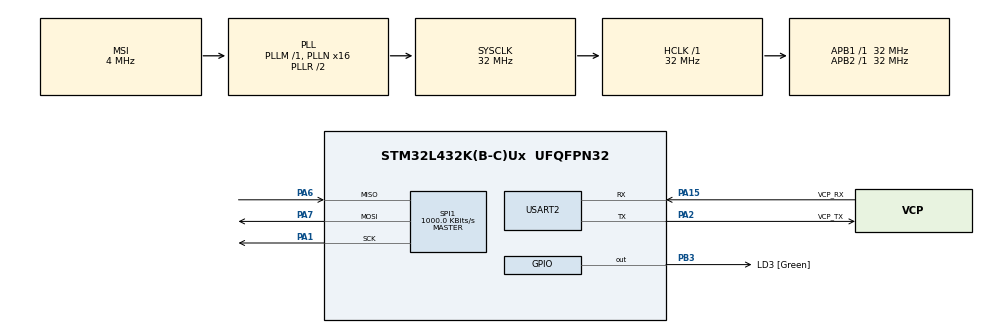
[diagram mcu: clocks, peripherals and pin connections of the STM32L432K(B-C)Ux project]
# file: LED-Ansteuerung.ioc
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Mcu.Family=STM32L4
Mcu.Name=STM32L432K(B-C)Ux
Mcu.Package=UFQFPN32
NVIC.PriorityGroup=NVIC_PRIORITYGROUP_4
NVIC.TIM2_IRQn=true\:0\:0\:false\:false\:true\:true\:true\:true
NVIC.USART2_IRQn=true\:0\:0\:false\:false\:true\:true\:true\:true
PA0.GPIO_Label=MCO [High speed clock in]
PA0.Mode=HSE-External-Clock-Source-for-LittleOrca
PA0.Signal=RCC_CK_IN
PA1.Mode=Full_Duplex_Master
PA1.Signal=SPI1_SCK
PA13\ (JTMS-SWDIO).GPIO_Label=SWDIO
PA13\ (JTMS-SWDIO).Mode=Serial_Wire
PA13\ (JTMS-SWDIO).Signal=SYS_JTMS-SWDIO
PA14\ (JTCK-SWCLK).GPIO_Label=SWCLK
PA14\ (JTCK-SWCLK).Mode=Serial_Wire
PA14\ (JTCK-SWCLK).Signal=SYS_JTCK-SWCLK
PA15\ (JTDI).GPIO_Label=VCP_RX
PA15\ (JTDI).Mode=Asynchronous
PA15\ (JTDI).Signal=USART2_RX
PA2.GPIO_Label=VCP_TX
PA2.Mode=Asynchronous
PA2.Signal=USART2_TX
PA6.Mode=Full_Duplex_Master
PA6.Signal=SPI1_MISO
PA7.Mode=Full_Duplex_Master
PA7.Signal=SPI1_MOSI
PB3\ (JTDO-TRACESWO).GPIO_Label=LD3 [Green]
PB3\ (JTDO-TRACESWO).Signal=GPIO_Output
PC14-OSC32_IN\ (PC14).Mode=LSE-External-Oscillator
PC14-OSC32_IN\ (PC14).Signal=RCC_OSC32_IN
PC15-OSC32_OUT\ (PC15).Mode=LSE-External-Oscillator
PC15-OSC32_OUT\ (PC15).Signal=RCC_OSC32_OUT
ProjectManager.HeapSize=0x200
ProjectManager.StackSize=0x400
ProjectManager.TargetToolchain=STM32CubeIDE
RCC.AHBFreq_Value=32000000
RCC.APB1Freq_Value=32000000
RCC.APB1TimFreq_Value=32000000
RCC.APB2Freq_Value=32000000
RCC.APB2TimFreq_Value=32000000
RCC.CortexFreq_Value=32000000
RCC.HCLKFreq_Value=32000000
RCC.HSE_VALUE=8000000
RCC.HSI16_VALUE=16000000
RCC.HSI48_VALUE=48000000
RCC.HSI_VALUE=16000000
RCC.MSI_VALUE=4000000
RCC.PLLMUL=RCC_PLLMUL_4
RCC.PLLN=16
RCC.SYSCLKFreq_VALUE=32000000
RCC.SYSCLKSource=RCC_SYSCLKSOURCE_PLLCLK
RCC.VCOOutputFreq_Value=64000000
SPI1.BaudRatePrescaler=SPI_BAUDRATEPRESCALER_32
SPI1.CalculateBaudRate=1000.0 KBits/s
SPI1.DataSize=SPI_DATASIZE_8BIT
SPI1.Direction=SPI_DIRECTION_2LINES
SPI1.Mode=SPI_MODE_MASTER
SPI1.NSSPMode=SPI_NSS_PULSE_DISABLE
SPI1.VirtualType=VM_MASTER
TIM1.Prescaler=79
TIM2.Period=9
TIM2.Prescaler=7999
USART2.VirtualMode-Asynchronous=VM_ASYNC
VP_TIM1_VS_ClockSourceINT.Mode=Internal
VP_TIM2_VS_ClockSourceINT.Mode=Internal
board=NUCLEO-L432KC

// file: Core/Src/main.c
/* USER CODE BEGIN Header */
/**
 ******************************************************************************
 * @file           : main.c
 * @brief          : Main program body
 ******************************************************************************
 * @attention
 *
 * Copyright (c) 2025 STMicroelectronics.
 * All rights reserved.
 *
 * This software is licensed under terms that can be found in the LICENSE file
 * in the root directory of this software component.
 * If no LICENSE file comes with this software, it is provided AS-IS.
 *
 ******************************************************************************
 */
/* USER CODE END Header */
#include "main.h"
#include "spi.h"
#include "tim.h"
#include "usart.h"
#include "gpio.h"

void SystemClock_Config(void);

/* USER CODE BEGIN 0 */
/*
	      rad_i = atof(p);
	      p = strchr(p, ',');
	      if (!p) goto parse_error;
	      p++;

	      phi_i = atof(p);
	      p = strchr(p, ',');
	      if (!p) goto parse_error;
	      p++;

	      r_tmp = atoi(p);
	      p = strchr(p, ',');
	      if (!p) goto parse_error;
	      p++;

	      g_tmp = atoi(p);
	      p = strchr(p, ',');
	      if (!p) goto parse_error;
	      p++;

	      b_tmp = atoi(p);

	      int n = sscanf((char*)rx_buf, "%f,%f,%u,%u,%u",
	    		  &rad_i, &phi_i, &r_tmp, &g_tmp, &b_tmp);
 */

/* --------------------------------------------------------------------------
 * UART-Empfang & Datenpuffer
 * -------------------------------------------------------------------------- */
uint8_t rx_byte;
uint8_t rx_buf[256];
volatile uint8_t new_line_received = 0;
uint16_t idx = 0;

#define MAX_VALUES 900
#define FRAME_SIZE 30

float rad_arr[MAX_VALUES];
float phi_arr[MAX_VALUES];
uint8_t rgb_arr[MAX_VALUES][3] = {0};

volatile int count = 0;

/* --------------------------------------------------------------------------
 * POV-Konfiguration
 * -------------------------------------------------------------------------- */
#define POV_SLICES          128        // Winkelaufloesung: 360° / 128 = 2,8125°
#define ROTATION_PERIOD_US  20000UL    // 3000 RPM → 20 ms pro Umdrehung

uint8_t pov_frame[POV_SLICES][FRAME_SIZE][3];
static  uint8_t pov_built = 0;

void HAL_UART_RxCpltCallback(UART_HandleTypeDef *huart)
{
    if(huart->Instance == USART2)
    {
        if(rx_byte == '\n' || rx_byte == '\r')
        {
            rx_buf[idx] = 0;          // String beenden
            //HAL_GPIO_WritePin(GPIOA, GPIO_PIN_4, 0);
            new_line_received = 1;    // Hauptschleife informieren
            idx = 0;                  // Reset für neue Zeile
        }
        else
        {	// Ueberlauf verhindern
            if(idx < sizeof(rx_buf)-1)
                rx_buf[idx++] = rx_byte; // Wert uebergeben dann idx+1
        }
        __HAL_UART_CLEAR_OREFLAG(huart);          // Overrun Flag loeschen

        // Naechsten Interrupt starten
        HAL_UART_Receive_IT(&huart2, &rx_byte, 1);
    }
}

static uint32_t parse_uint(char **p)
{
	uint32_t val = 0; // aktuell gelesener Integer
	while(**p >= '0' && **p <= '9') // Ziffer
	{
		val = val * 10 + (**p - '0'); // ASCII in Zahlen
		(*p)++; // Zeiger auf naechstes Zeichen
	}
	if(**p == ',') (*p)++;  // Komma ueberspringen
	return val; // gibt geparste Zahl zurueck
}

volatile uint32_t ms_counter = 0;
volatile uint32_t us_counter = 0;

// Timer Interrupt Callback
void HAL_TIM_PeriodElapsedCallback(TIM_HandleTypeDef *htim)
{
	if (htim->Instance == TIM2) ms_counter++;
}

uint32_t millis() { return ms_counter; }

uint32_t micros() { return __HAL_TIM_GET_COUNTER(&htim1); }

static void build_pov_buffer(void)
{
    /* Puffer mit Schwarz initialisieren */
    for (int s = 0; s < POV_SLICES; s++)
        for (int l = 0; l < FRAME_SIZE; l++)
            pov_frame[s][l][0] = pov_frame[s][l][1] = pov_frame[s][l][2] = 0;

    /* Maximalen Radius für Normierung bestimmen */
    float max_rad = 0.0f;
    for (int j = 0; j < count; j++)
        if (rad_arr[j] > max_rad) max_rad = rad_arr[j];
    if (max_rad == 0.0f) max_rad = 1.0f;

    /* Jeden Punkt in pov_frame eintragen */
    for (int j = 0; j < count; j++)
    {
        /* Winkel → Slice-Index */
        float norm_phi = phi_arr[j];
        if (norm_phi < 0.0f)    norm_phi += 360.0f;
        if (norm_phi >= 360.0f) norm_phi -= 360.0f;

        int slice = (int)(norm_phi / 360.0f * (float)POV_SLICES);
        if (slice < 0)           slice = 0;
        if (slice >= POV_SLICES) slice = POV_SLICES - 1;

        /* Radius → LED-Index (0 = Achse, 29 = außen) */
        int led = (int)(rad_arr[j] / max_rad * (float)(FRAME_SIZE - 1) + 0.5f);
        if (led < 0)           led = 0;
        if (led >= FRAME_SIZE) led = FRAME_SIZE - 1;

        /* Hellerer Punkt gewinnt bei Überschneidung */
        if ((rgb_arr[j][0] + rgb_arr[j][1] + rgb_arr[j][2])
          > (pov_frame[slice][led][0] + pov_frame[slice][led][1] + pov_frame[slice][led][2]))
        {
            pov_frame[slice][led][0] = rgb_arr[j][0];
            pov_frame[slice][led][1] = rgb_arr[j][1];
            pov_frame[slice][led][2] = rgb_arr[j][2];
        }
    }
}

/* USER CODE END 0 */

int main(void)
{

  /* MCU Configuration--------------------------------------------------------*/

  /* Reset of all peripherals, Initializes the Flash interface and the Systick. */
  HAL_Init();

  /* Configure the system clock */
  SystemClock_Config();

  /* Initialize all configured peripherals */
  MX_GPIO_Init();
  MX_USART2_UART_Init();
  MX_SPI1_Init();
  MX_TIM2_Init();
  MX_TIM1_Init();
  /* USER CODE BEGIN 2 */
  HAL_TIM_Base_Start_IT(&htim2);
  HAL_TIM_Base_Start(&htim1);
  DigiLed_init(&hspi1); // Initialisierung der Library
  HAL_UART_Receive_IT(&huart2, &rx_byte, 1); // Interrupt start

  uint8_t ready_msg[] = "READY\r\n";
  HAL_Delay(10); // Kurz warten
  HAL_UART_Transmit(&huart2, ready_msg, sizeof(ready_msg), 1000); // READY an Python Code senden

  /* USER CODE END 2 */

  /* Infinite loop */
  /* USER CODE BEGIN WHILE */
	while (1)
	{

		if(new_line_received)
		{
			new_line_received = 0;
			//HAL_UART_Transmit(&huart2, &rx_byte, 1, HAL_MAX_DELAY); // Echo zum Test

			char* p = (char*)rx_buf;
			//float rad_i, phi_i;

			// Integer statt float
			uint32_t rad_i = parse_uint(&p);
			uint32_t phi_i = parse_uint(&p);
			uint32_t r_tmp  = parse_uint(&p);
			uint32_t g_tmp  = parse_uint(&p);
			uint32_t b_tmp  = parse_uint(&p);

			if(count < MAX_VALUES)
			{
				rgb_arr[count][0] = (uint8_t)r_tmp;
				rgb_arr[count][1] = (uint8_t)g_tmp;
				rgb_arr[count][2] = (uint8_t)b_tmp;
				rad_arr[count] = rad_i / 100.0f;
				phi_arr[count] = phi_i / 100.0f;
				count++;
			}

		}
		/*
		 --- LED-Ansteuerung ohne Motor ---

		if (count >= MAX_VALUES)
		{
				int TOTAL_FRAMES = MAX_VALUES / FRAME_SIZE;
				static int frame = 0;
				static uint32_t last_time = 0;
				int offset;

				if (micros() - last_time >= 10000)  // alle 100ms nächster Frame
				{
					last_time = micros();
					offset = frame * FRAME_SIZE;

					for (int i = 0; i < FRAME_SIZE; i++)
					{
						DigiLed_setColor(i,
								rgb_arr[offset + i][0],
								rgb_arr[offset + i][1],
								rgb_arr[offset + i][2]);
					}
					DigiLed_setAllIllumination(1);
					DigiLed_update(1);

					frame++;
					if (frame >= TOTAL_FRAMES)
						frame = 0;  // von vorne
				}
			}
		}*/
        if (count >= MAX_VALUES)
        {
            build_pov_buffer();
            pov_built = 1;
        }

        if (pov_built)
        {
            uint32_t pos_us = micros() % ROTATION_PERIOD_US;

            int slice = (int)((float)pos_us
                              / (float)ROTATION_PERIOD_US
                              * (float)POV_SLICES);

            if (slice < 0)           slice = 0;
            if (slice >= POV_SLICES) slice = POV_SLICES - 1;

            for (int i = 0; i < FRAME_SIZE; i++)
            {
                DigiLed_setColor(i,
                                 pov_frame[slice][i][0],
                                 pov_frame[slice][i][1],
                                 pov_frame[slice][i][2]);
            }

            DigiLed_setAllIllumination(1);
            DigiLed_update(1);
        }

		/*continue;

	  parse_error:
	      // Ungültige Zeile -> ignorieren
	      count = count;*/
    /* USER CODE END WHILE */

	}
}

void SystemClock_Config(void)
{
  RCC_OscInitTypeDef RCC_OscInitStruct = {0};
  RCC_ClkInitTypeDef RCC_ClkInitStruct = {0};

  /** Configure the main internal regulator output voltage
  */
  if (HAL_PWREx_ControlVoltageScaling(PWR_REGULATOR_VOLTAGE_SCALE1) != HAL_OK)
  {
    Error_Handler();
  }

  /** Configure LSE Drive Capability
  */
  HAL_PWR_EnableBkUpAccess();
  __HAL_RCC_LSEDRIVE_CONFIG(RCC_LSEDRIVE_LOW);

  /** Initializes the RCC Oscillators according to the specified parameters
  * in the RCC_OscInitTypeDef structure.
  */
  RCC_OscInitStruct.OscillatorType = RCC_OSCILLATORTYPE_LSE|RCC_OSCILLATORTYPE_MSI;
  RCC_OscInitStruct.LSEState = RCC_LSE_ON;
  RCC_OscInitStruct.MSIState = RCC_MSI_ON;
  RCC_OscInitStruct.MSICalibrationValue = 0;
  RCC_OscInitStruct.MSIClockRange = RCC_MSIRANGE_6;
  RCC_OscInitStruct.PLL.PLLState = RCC_PLL_ON;
  RCC_OscInitStruct.PLL.PLLSource = RCC_PLLSOURCE_MSI;
  RCC_OscInitStruct.PLL.PLLM = 1;
  RCC_OscInitStruct.PLL.PLLN = 16;
  RCC_OscInitStruct.PLL.PLLP = RCC_PLLP_DIV7;
  RCC_OscInitStruct.PLL.PLLQ = RCC_PLLQ_DIV2;
  RCC_OscInitStruct.PLL.PLLR = RCC_PLLR_DIV2;
  if (HAL_RCC_OscConfig(&RCC_OscInitStruct) != HAL_OK)
  {
    Error_Handler();
  }

  /** Initializes the CPU, AHB and APB buses clocks
  */
  RCC_ClkInitStruct.ClockType = RCC_CLOCKTYPE_HCLK|RCC_CLOCKTYPE_SYSCLK
                              |RCC_CLOCKTYPE_PCLK1|RCC_CLOCKTYPE_PCLK2;
  RCC_ClkInitStruct.SYSCLKSource = RCC_SYSCLKSOURCE_PLLCLK;
  RCC_ClkInitStruct.AHBCLKDivider = RCC_SYSCLK_DIV1;
  RCC_ClkInitStruct.APB1CLKDivider = RCC_HCLK_DIV1;
  RCC_ClkInitStruct.APB2CLKDivider = RCC_HCLK_DIV1;

  if (HAL_RCC_ClockConfig(&RCC_ClkInitStruct, FLASH_LATENCY_1) != HAL_OK)
  {
    Error_Handler();
  }

  /** Enable MSI Auto calibration
  */
  HAL_RCCEx_EnableMSIPLLMode();
}

void Error_Handler(void)
{
	__disable_irq();
	while (1)
	{
	}
}
